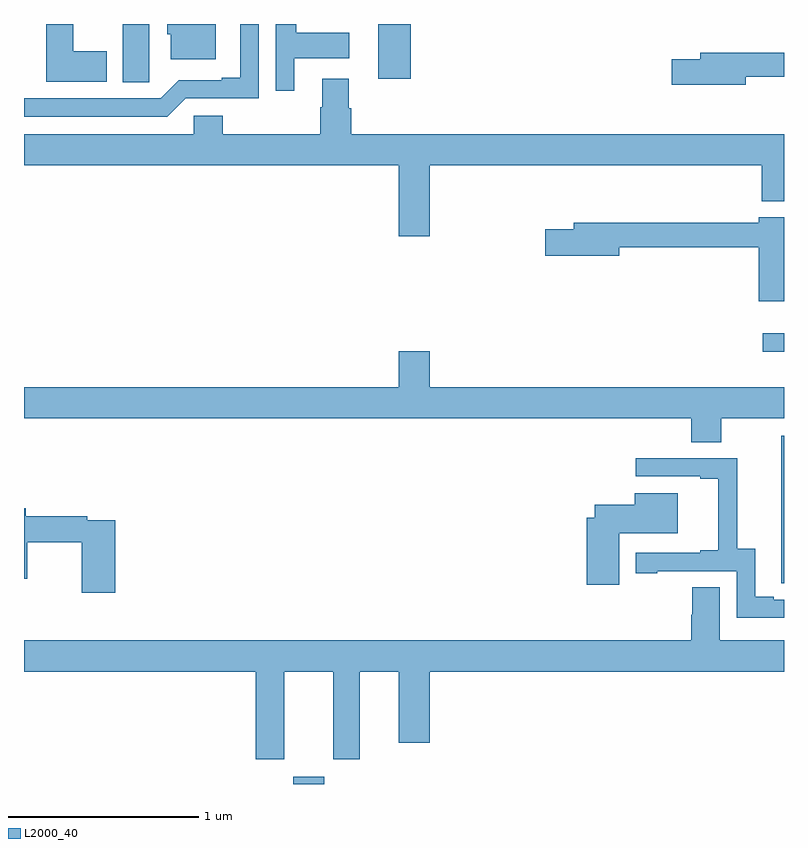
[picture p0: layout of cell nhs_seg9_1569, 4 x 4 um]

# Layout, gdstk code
import gdstk
lib = gdstk.Library(unit=1e-6, precision=1e-09)
def R(c, l, rs):  # rectangles x0, y0, x1, y1
    for r in rs: c.add(gdstk.rectangle(r[:2], r[2:], *l))
def P(c, l, *ps):  # polygons
    for p in ps: c.add(gdstk.Polygon(p, *l))
L2000_40 = (2000, 40)

nhs_seg9_1569 = lib.new_cell('nhs_seg9_1569')
R(nhs_seg9_1569, L2000_40, [(200.417,1190.5,200.581,1190.539), (202.887,1192.776,203,1192.872), (200.864,1194.213,201.035,1194.5)])
P(nhs_seg9_1569, L2000_40, [(199.851,1194.108),(200.235,1194.108),(200.235,1194.5),(200.138,1194.5),(200.138,1194.217),(200.042,1194.217),(200.042,1194.204),(199.815,1194.204),(199.719,1194.108),(199,1194.108),(199,1194.012),(199.755,1194.012)],
  [(199.435,1194.357),(199.258,1194.357),(199.258,1194.5),(199.118,1194.5),(199.118,1194.197),(199.435,1194.197)],
  [(200.422,1194.32),(200.713,1194.32),(200.713,1194.455),(200.434,1194.455),(200.434,1194.5),(200.325,1194.5),(200.325,1194.15),(200.422,1194.15)],
  [(200.008,1194.5),(199.754,1194.5),(199.754,1194.447),(199.772,1194.447),(199.772,1194.314),(200.008,1194.314)],
  [(199.659,1194.304),(199.66,1194.304),(199.66,1194.5),(199.52,1194.5),(199.52,1194.193),(199.659,1194.193)],
  [(202.798,1194.222),(203,1194.222),(203,1194.35),(202.559,1194.35),(202.559,1194.314),(202.41,1194.314),(202.41,1194.179),(202.798,1194.179)],
  [(201.136,1193.756),(202.883,1193.756),(202.883,1193.567),(203,1193.567),(203,1193.92),(200.723,1193.92),(200.723,1194.057),(200.71,1194.057),(200.71,1194.211),(200.57,1194.211),(200.57,1194.062),(200.558,1194.062),(200.558,1193.92),(200.045,1193.92),(200.045,1194.018),(199.893,1194.018),(199.893,1193.92),(199,1193.92),(199,1193.756),(200.972,1193.756),(200.972,1193.382),(201.136,1193.382)],
  [(203,1193.482),(202.868,1193.482),(202.868,1193.455),(201.893,1193.455),(201.893,1193.421),(201.744,1193.421),(201.744,1193.279),(202.132,1193.279),(202.132,1193.326),(202.868,1193.326),(202.868,1193.04),(203,1193.04)],
  [(202.671,1192.424),(203,1192.424),(203,1192.588),(201.136,1192.588),(201.136,1192.777),(200.972,1192.777),(200.972,1192.588),(199,1192.588),(199,1192.424),(202.511,1192.424),(202.511,1192.3),(202.671,1192.3)],
  [(203,1192.332),(202.985,1192.332),(202.985,1191.664),(202.986,1191.664),(202.986,1191.556),(203,1191.556)],
  [(203,1191.471),(202.945,1191.471),(202.945,1191.486),(202.849,1191.486),(202.849,1191.737),(202.755,1191.737),(202.755,1192.215),(202.221,1192.215),(202.221,1192.119),(202.559,1192.119),(202.559,1192.107),(202.655,1192.107),(202.655,1191.73),(202.559,1191.73),(202.559,1191.717),(202.221,1191.717),(202.221,1191.609),(202.333,1191.609),(202.333,1191.621),(202.752,1191.621),(202.752,1191.375),(203,1191.375)],
  [(202.132,1191.821),(202.441,1191.821),(202.441,1192.03),(202.214,1192.03),(202.214,1191.969),(202.004,1191.969),(202.004,1191.901),(201.962,1191.901),(201.962,1191.549),(202.132,1191.549)],
  [(199.481,1191.888),(199.334,1191.888),(199.334,1191.908),(199.009,1191.908),(199.009,1191.952),(199,1191.952),(199,1191.579),(199.017,1191.579),(199.017,1191.772),(199.303,1191.772),(199.303,1191.507),(199.481,1191.507)],
  [(199,1191.092),(200.219,1191.092),(200.219,1190.631),(200.371,1190.631),(200.371,1191.092),(200.627,1191.092),(200.627,1190.631),(200.767,1190.631),(200.767,1191.092),(200.972,1191.092),(200.972,1190.718),(201.136,1190.718),(201.136,1191.092),(203,1191.092),(203,1191.256),(202.663,1191.256),(202.663,1191.536),(202.516,1191.536),(202.516,1191.39),(202.511,1191.39),(202.511,1191.256),(199,1191.256)])

lib.write_gds('nhs_seg9_1569.gds')
